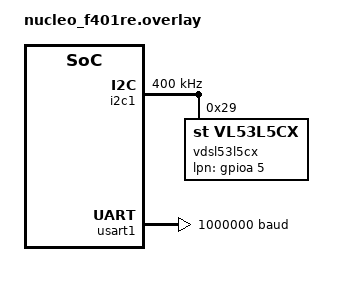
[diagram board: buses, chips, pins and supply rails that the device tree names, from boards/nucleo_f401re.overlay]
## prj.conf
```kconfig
CONFIG_SHELL=y

# CONFIG_DEBUG_THREAD_INFO=y
# CONFIG_DEBUG_OPTIMIZATIONS=y

CONFIG_MAIN_STACK_SIZE=2048

CONFIG_GPIO=y
CONFIG_SENSOR=y

CONFIG_VL53L5CX=y
CONFIG_VL53L5CX_RECONFIGURE_ADDRESS=y
CONFIG_VL53L5CX_RESOLUTION_8X8=y
CONFIG_VL53L5CX_RANGING_FREQ=15

CONFIG_LOG=y
CONFIG_I2C_LOG_LEVEL_DBG=y


# Net

# General config
CONFIG_REQUIRES_FULL_LIBC=y

# Networking config
CONFIG_NETWORKING=y
CONFIG_NET_IPV4=y
CONFIG_NET_IPV6=n
CONFIG_NET_UDP=y
CONFIG_NET_SOCKETS=y
CONFIG_POSIX_API=y

# Network driver config
CONFIG_TEST_RANDOM_GENERATOR=y

# Network address config
CONFIG_NET_CONFIG_SETTINGS=y
CONFIG_NET_CONFIG_NEED_IPV4=y
CONFIG_NET_CONFIG_MY_IPV4_ADDR="192.0.2.1"
CONFIG_NET_CONFIG_PEER_IPV4_ADDR="192.0.2.2"

# Network debug config
CONFIG_NET_LOG=y
CONFIG_NET_SHELL=y
```

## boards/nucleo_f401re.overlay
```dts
&i2c1 {
    vdsl53l5cx: vl53l5cx@29 {
        compatible = "st,vl53l5cx";
        reg = <0x29>;
        lpn-gpios = <&gpioa 5 GPIO_ACTIVE_HIGH>;
        
    };
    clock-frequency = <400000>;
};

&i2c1_scl_pb8 {
    /delete-property/ bias-pull-up;
    bias-disable;
};

&i2c1_sda_pb9 {
    /delete-property/ bias-pull-up;
    bias-disable;  
};


/ {
    chosen {
        zephyr,ppp-uart = &usart1;
    };
};


// PPP: improved ping from 25ms to 3.5ms
&usart1 {
	current-speed = <1000000>; 
};
```

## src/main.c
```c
#include <stdio.h>
#include <zephyr/kernel.h>

#include <zephyr/net/socket.h>
#include <arpa/inet.h>

#include <zephyr/device.h>
#include <zephyr/drivers/sensor.h>
#include <vl53l5cx.h>


/* Custom attribute and channel definitions (matching your driver) */
#define SENSOR_ATTR_VL53L5CX_RANGING_STATE SENSOR_ATTR_PRIV_START
#define SENSOR_CHAN_VL53L5CX_DISTANCE_BASE SENSOR_CHAN_PRIV_START


#define DEST_ADDR "255.255.255.255" // Linux PC IP (broadcast)
#define SERVER_PORT 5005

struct range_image {
    float num_zones ;
    float distances[64];
};

int vl53l5cx_get_range_array(const struct device *dev, struct sensor_value buff, int num_zones, float *output_array) {
    for (int i = 0; i < num_zones; i++) {
        sensor_channel_get(dev, (enum sensor_channel)(SENSOR_CHAN_VL53L5CX_DISTANCE_BASE + i), &buff);
        output_array[i] = buff.val1 + buff.val2 / 1000.0f;
    }
    return 0;
}

int main(void)
{

    int sock;
    struct sockaddr_in destination_addr;

    // Create UDP socket
    sock = socket(AF_INET, SOCK_DGRAM, IPPROTO_UDP);
    if (sock < 0) {
        return 0;
    }

    // Configure destination address
    destination_addr.sin_family = AF_INET;
    destination_addr.sin_port = htons(SERVER_PORT);
    inet_pton(AF_INET, DEST_ADDR, &destination_addr.sin_addr);

    const struct device *dev = DEVICE_DT_GET_ANY(st_vl53l5cx);
    struct sensor_value enable = { .val1 = 1 };
    struct sensor_value buff_sensor_value;
    struct range_image img;
	int ret;

    if (!device_is_ready(dev)) {
        printf("Sensor device not ready\n");
        return 0;
    }

    ret = sensor_attr_set(dev, SENSOR_CHAN_ALL, (enum sensor_attribute)SENSOR_ATTR_VL53L5CX_RANGING_STATE, &enable);
    if (ret != 0) {
        printf("Failed to start ranging: %d\n", ret);
        return 0;
    }

    printf("VL53L5CX Ranging Started...\n");

    buff_sensor_value = (struct sensor_value){0};
	ret =sensor_attr_get(dev, SENSOR_CHAN_ALL, SENSOR_ATTR_RESOLUTION, &buff_sensor_value);
    if (ret != 0) {
        printf("Failed to get resolution: %d\n", ret);
		return 0;
    }
	int num_zones = buff_sensor_value.val1;

	buff_sensor_value = (struct sensor_value){0};
	ret = sensor_attr_get(dev, SENSOR_CHAN_ALL, SENSOR_ATTR_SAMPLING_FREQUENCY, &buff_sensor_value);
	if (ret != 0) {
		printf("Failed to get sampling frequency: %d\n", ret);
		return 0;
	}
	int freq_hz = buff_sensor_value.val1;

	printf("VL53L5CX Resolution: %dx%d (%d zones)\n", 
			 num_zones == 64 ? 8 : 4, 
			 num_zones == 64 ? 8 : 4, 
			 num_zones);
	printf("VL53L5CX Sampling Frequency: %d Hz\n", freq_hz);

    while (1) {
        ret = sensor_sample_fetch(dev);
        if (ret != 0) {
            printf("Fetch failed: %d\n", ret);
            k_msleep(1000/freq_hz);
            continue;
        }

        vl53l5cx_get_range_array(dev, buff_sensor_value , num_zones, img.distances);
        img.num_zones = num_zones;

        sendto(sock, &img, sizeof(img), 0, (struct sockaddr *)&destination_addr, sizeof(destination_addr));
        k_msleep(1000/freq_hz);
    }

    return 0;
}
```
